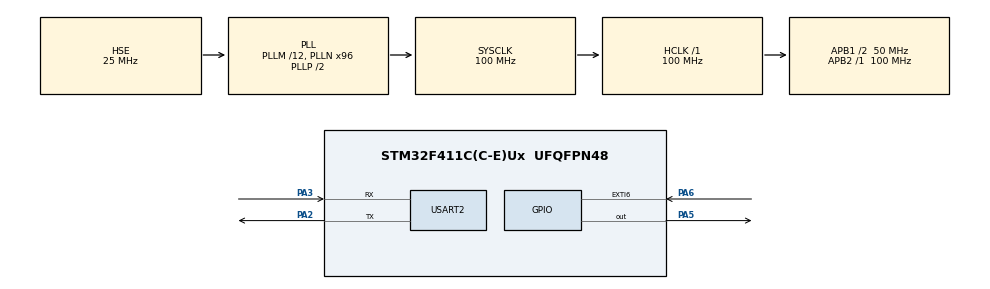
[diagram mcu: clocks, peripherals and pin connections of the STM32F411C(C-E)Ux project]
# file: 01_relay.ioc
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Mcu.Family=STM32F4
Mcu.Name=STM32F411C(C-E)Ux
Mcu.Package=UFQFPN48
NVIC.EXTI9_5_IRQn=true\:0\:0\:false\:false\:true\:true\:true\:true
NVIC.PriorityGroup=NVIC_PRIORITYGROUP_4
PA13.Mode=Serial_Wire
PA13.Signal=SYS_JTMS-SWDIO
PA14.Mode=Serial_Wire
PA14.Signal=SYS_JTCK-SWCLK
PA2.Mode=Asynchronous
PA2.Signal=USART2_TX
PA3.Mode=Asynchronous
PA3.Signal=USART2_RX
PA5.Signal=GPIO_Output
PA6.GPIO_PuPd=GPIO_PULLUP
PA6.Signal=GPXTI6
PC14-OSC32_IN.Mode=LSE-External-Oscillator
PC14-OSC32_IN.Signal=RCC_OSC32_IN
PC15-OSC32_OUT.Mode=LSE-External-Oscillator
PC15-OSC32_OUT.Signal=RCC_OSC32_OUT
PH0\ -\ OSC_IN.Mode=HSE-External-Oscillator
PH0\ -\ OSC_IN.Signal=RCC_OSC_IN
PH1\ -\ OSC_OUT.Mode=HSE-External-Oscillator
PH1\ -\ OSC_OUT.Signal=RCC_OSC_OUT
ProjectManager.HeapSize=0x200
ProjectManager.StackSize=0x400
ProjectManager.TargetToolchain=STM32CubeIDE
RCC.48MHZClocksFreq_Value=50000000
RCC.AHBFreq_Value=100000000
RCC.APB1CLKDivider=RCC_HCLK_DIV2
RCC.APB1Freq_Value=50000000
RCC.APB1TimFreq_Value=100000000
RCC.APB2Freq_Value=100000000
RCC.APB2TimFreq_Value=100000000
RCC.CortexFreq_Value=100000000
RCC.HCLKFreq_Value=100000000
RCC.HSE_VALUE=25000000
RCC.HSI_VALUE=16000000
RCC.PLLM=12
RCC.PLLN=96
RCC.PLLSourceVirtual=RCC_PLLSOURCE_HSE
RCC.SYSCLKFreq_VALUE=100000000
RCC.SYSCLKSource=RCC_SYSCLKSOURCE_PLLCLK
RCC.VCOOutputFreq_Value=200000000
TIM2.Prescaler=99
USART2.VirtualMode=VM_ASYNC
VP_TIM2_VS_ClockSourceINT.Mode=Internal
board=custom

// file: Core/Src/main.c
/* USER CODE BEGIN Header */
/**
 ******************************************************************************
 * @file           : main.c
 * @brief          : Main program body
 ******************************************************************************
 * @attention
 *
 * Copyright (c) 2026 STMicroelectronics.
 * All rights reserved.
 *
 * This software is licensed under terms that can be found in the LICENSE file
 * in the root directory of this software component.
 * If no LICENSE file comes with this software, it is provided AS-IS.
 *
 ******************************************************************************
 */
/* USER CODE END Header */
#include "main.h"

/* USER CODE BEGIN Includes */
#include <stdarg.h>
#include <stdio.h>
#include <string.h>

/* USER CODE END Includes */

/* USER CODE BEGIN PTD */
typedef struct
{
    uint8_t raw;
    uint8_t stable;

    uint32_t time_last_update;
    uint32_t time_stable_read_before;
    uint32_t time_stable_read_after;
} Relay;

#define AVERAGE_SAMPLER_SIZE 10
typedef struct
{
    uint16_t samples[AVERAGE_SAMPLER_SIZE];
    uint32_t sum;
    size_t write_index;
    size_t count;
} AverageSampler;

uint16_t AverageSampler_Sample(AverageSampler *const as, const uint16_t new_value)
{
    if (as->count == AVERAGE_SAMPLER_SIZE)
    {
        as->sum -= as->samples[as->write_index];
    }
    else
    {
        ++as->count;
    }

    as->samples[as->write_index] = new_value;
    as->sum += new_value;
    as->write_index = (as->write_index + 1) % AVERAGE_SAMPLER_SIZE;
    uint16_t avg_value = (uint16_t)(as->sum / as->count);
    return avg_value;
}

/* USER CODE END PTD */

TIM_HandleTypeDef htim2;

UART_HandleTypeDef huart2;

/* USER CODE BEGIN PV */
char log_buffer[256] =
{ 0 };
uint32_t time_now = 0u;
uint32_t time_relay_last_read = 0u;
uint32_t time_relay_last_toggle = 0u;

volatile Relay relay = { 0 };

AverageSampler sampler = {
    .samples = {0},
    .sum = 0,
    .count = 0,
    .write_index = 0
};

/* USER CODE END PV */

void SystemClock_Config(void);
static void MX_GPIO_Init(void);
static void MX_USART2_UART_Init(void);
static void MX_TIM2_Init(void);

/* USER CODE BEGIN 0 */
void HAL_GPIO_EXTI_Callback(uint16_t GPIO_Pin)
{
    if (GPIO_Pin == GPIO_PIN_6)
    {
        const uint32_t now = HAL_GetTick();
        const uint8_t raw = (HAL_GPIO_ReadPin(GPIOA, GPIO_PIN_6) == GPIO_PIN_RESET);
        if (raw != relay.raw)
        {
            relay.raw = raw;
        }

        if ((uint32_t) (now - relay.time_last_update) >= 30)
        {
            if (relay.stable != relay.raw)
            {
                relay.time_stable_read_after = __HAL_TIM_GET_COUNTER(&htim2);
                relay.stable = relay.raw;
            }
        }
    }
}

void log_write(const char *fmt, ...)
{
    assert_param(huart != NULL);
    assert_param(fmt != NULL);
    assert_param(strlen(fmt) < CONFIG_LOG_BUFFER_SIZE);

    uint32_t now = HAL_GetTick();
    char buffer[256] =
    { 0 };

    uint32_t pos = sprintf(buffer, "[%lu] ", now);

    va_list args;
    va_start(args, fmt);
    pos += vsprintf(buffer + pos, fmt, args);
    va_end(args);

    buffer[pos++] = '\r';
    buffer[pos++] = '\n';
    buffer[pos++] = '\0';

    HAL_UART_Transmit(&huart2, (uint8_t*) buffer, pos, HAL_MAX_DELAY);
}

/* USER CODE END 0 */

int main(void)
{

    /* MCU Configuration--------------------------------------------------------*/

    /* Reset of all peripherals, Initializes the Flash interface and the Systick. */
    HAL_Init();

    /* Configure the system clock */
    SystemClock_Config();

    /* Initialize all configured peripherals */
    MX_GPIO_Init();
    MX_USART2_UART_Init();
    MX_TIM2_Init();
    /* USER CODE BEGIN 2 */
    HAL_TIM_Base_Start(&htim2);
    log_write("Board started");
    /* USER CODE END 2 */

    /* Infinite loop */
    /* USER CODE BEGIN WHILE */
    while (1)
    {
        time_now = HAL_GetTick();

        if ((uint32_t) (time_now - time_relay_last_toggle) >= 500)
        {
            relay.time_stable_read_before = __HAL_TIM_GET_COUNTER(&htim2);
            HAL_GPIO_TogglePin(GPIOA, GPIO_PIN_5);
            time_relay_last_toggle = time_now;

            log_write("relay: time before value change: %u | time after value change: %u",
                      relay.time_stable_read_before, relay.time_stable_read_after);

            if (relay.time_stable_read_before < relay.time_stable_read_after)
            {
                const uint32_t diff = (uint32_t)(relay.time_stable_read_after - relay.time_stable_read_before);
                const uint32_t avg_diff = AverageSampler_Sample(&sampler, diff);
                log_write("activation time: %u us | average: %u us", diff, avg_diff);
            }
        }

        if ((uint32_t) (time_now - time_relay_last_read) >= 500)
        {
            log_write("relay_state: %u", relay.stable);
            time_relay_last_read = time_now;
        }
        /* USER CODE END WHILE */

    }
}

void SystemClock_Config(void)
{
    RCC_OscInitTypeDef RCC_OscInitStruct =
    { 0 };
    RCC_ClkInitTypeDef RCC_ClkInitStruct =
    { 0 };

    /** Configure the main internal regulator output voltage
     */
    __HAL_RCC_PWR_CLK_ENABLE();
    __HAL_PWR_VOLTAGESCALING_CONFIG(PWR_REGULATOR_VOLTAGE_SCALE1);

    /** Initializes the RCC Oscillators according to the specified parameters
     * in the RCC_OscInitTypeDef structure.
     */
    RCC_OscInitStruct.OscillatorType = RCC_OSCILLATORTYPE_HSE;
    RCC_OscInitStruct.HSEState = RCC_HSE_ON;
    RCC_OscInitStruct.PLL.PLLState = RCC_PLL_ON;
    RCC_OscInitStruct.PLL.PLLSource = RCC_PLLSOURCE_HSE;
    RCC_OscInitStruct.PLL.PLLM = 12;
    RCC_OscInitStruct.PLL.PLLN = 96;
    RCC_OscInitStruct.PLL.PLLP = RCC_PLLP_DIV2;
    RCC_OscInitStruct.PLL.PLLQ = 4;
    if (HAL_RCC_OscConfig(&RCC_OscInitStruct) != HAL_OK)
    {
        Error_Handler();
    }

    /** Initializes the CPU, AHB and APB buses clocks
     */
    RCC_ClkInitStruct.ClockType = RCC_CLOCKTYPE_HCLK | RCC_CLOCKTYPE_SYSCLK
            | RCC_CLOCKTYPE_PCLK1 | RCC_CLOCKTYPE_PCLK2;
    RCC_ClkInitStruct.SYSCLKSource = RCC_SYSCLKSOURCE_PLLCLK;
    RCC_ClkInitStruct.AHBCLKDivider = RCC_SYSCLK_DIV1;
    RCC_ClkInitStruct.APB1CLKDivider = RCC_HCLK_DIV2;
    RCC_ClkInitStruct.APB2CLKDivider = RCC_HCLK_DIV1;

    if (HAL_RCC_ClockConfig(&RCC_ClkInitStruct, FLASH_LATENCY_3) != HAL_OK)
    {
        Error_Handler();
    }
}

static void MX_TIM2_Init(void)
{

    TIM_ClockConfigTypeDef sClockSourceConfig =
    { 0 };
    TIM_MasterConfigTypeDef sMasterConfig =
    { 0 };

    htim2.Instance = TIM2;
    htim2.Init.Prescaler = 99;
    htim2.Init.CounterMode = TIM_COUNTERMODE_UP;
    htim2.Init.Period = 4294967295;
    htim2.Init.ClockDivision = TIM_CLOCKDIVISION_DIV1;
    htim2.Init.AutoReloadPreload = TIM_AUTORELOAD_PRELOAD_DISABLE;
    if (HAL_TIM_Base_Init(&htim2) != HAL_OK)
    {
        Error_Handler();
    }
    sClockSourceConfig.ClockSource = TIM_CLOCKSOURCE_INTERNAL;
    if (HAL_TIM_ConfigClockSource(&htim2, &sClockSourceConfig) != HAL_OK)
    {
        Error_Handler();
    }
    sMasterConfig.MasterOutputTrigger = TIM_TRGO_RESET;
    sMasterConfig.MasterSlaveMode = TIM_MASTERSLAVEMODE_DISABLE;
    if (HAL_TIMEx_MasterConfigSynchronization(&htim2, &sMasterConfig) != HAL_OK)
    {
        Error_Handler();
    }

}

static void MX_USART2_UART_Init(void)
{

    huart2.Instance = USART2;
    huart2.Init.BaudRate = 115200;
    huart2.Init.WordLength = UART_WORDLENGTH_8B;
    huart2.Init.StopBits = UART_STOPBITS_1;
    huart2.Init.Parity = UART_PARITY_NONE;
    huart2.Init.Mode = UART_MODE_TX_RX;
    huart2.Init.HwFlowCtl = UART_HWCONTROL_NONE;
    huart2.Init.OverSampling = UART_OVERSAMPLING_16;
    if (HAL_UART_Init(&huart2) != HAL_OK)
    {
        Error_Handler();
    }

}

static void MX_GPIO_Init(void)
{
    GPIO_InitTypeDef GPIO_InitStruct =
    { 0 };

    /* GPIO Ports Clock Enable */
    __HAL_RCC_GPIOC_CLK_ENABLE();
    __HAL_RCC_GPIOH_CLK_ENABLE();
    __HAL_RCC_GPIOA_CLK_ENABLE();

    /*Configure GPIO pin Output Level */
    HAL_GPIO_WritePin(GPIOA, GPIO_PIN_5, GPIO_PIN_RESET);

    /*Configure GPIO pin : PA5 */
    GPIO_InitStruct.Pin = GPIO_PIN_5;
    GPIO_InitStruct.Mode = GPIO_MODE_OUTPUT_PP;
    GPIO_InitStruct.Pull = GPIO_NOPULL;
    GPIO_InitStruct.Speed = GPIO_SPEED_FREQ_LOW;
    HAL_GPIO_Init(GPIOA, &GPIO_InitStruct);

    /*Configure GPIO pin : PA6 */
    GPIO_InitStruct.Pin = GPIO_PIN_6;
    GPIO_InitStruct.Mode = GPIO_MODE_IT_RISING;
    GPIO_InitStruct.Pull = GPIO_PULLUP;
    HAL_GPIO_Init(GPIOA, &GPIO_InitStruct);

    /* EXTI interrupt init*/
    HAL_NVIC_SetPriority(EXTI9_5_IRQn, 0, 0);
    HAL_NVIC_EnableIRQ(EXTI9_5_IRQn);

}

void Error_Handler(void)
{
    __disable_irq();
    while (1)
    {
    }
}
#ifdef USE_FULL_ASSERT
/**
  * @brief  Reports the name of the source file and the source line number
  *         where the assert_param error has occurred.
  * @param  file: pointer to the source file name
  * @param  line: assert_param error line source number
  * @retval None
  */
void assert_failed(uint8_t *file, uint32_t line)
{
  /* USER CODE BEGIN 6 */
  /* User can add his own implementation to report the file name and line number,
    printf("Wrong parameters value: file %s on line %d\r\n", file, line) */
  /* USER CODE END 6 */
}
#endif /* USE_FULL_ASSERT */
